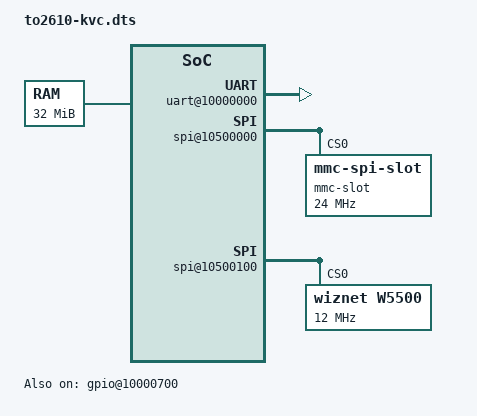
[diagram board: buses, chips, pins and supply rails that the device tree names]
/dts-v1/;

/* 照上游 kianv.dts 改：只留片上有的那一路串口，去掉第三路 SPI 上的显示屏，网卡定成 W5500；
 * 根文件系统在内核自带的 initramfs 里，启动参数不再指 SD 卡 */
/ {
	#address-cells = <0x01>;
	#size-cells = <0x01>;

	chosen {
		bootargs = "earlycon=sbi console=ttyS0";
	};

	memory@80000000 {
		device_type = "memory";
		reg = <0x80000000 0x2000000>;
	};

	cpus {
		#address-cells = <0x01>;
		#size-cells = <0x00>;
		timebase-frequency = <0xf4240>;

		cpu@0 {
			phandle = <0x01>;
			device_type = "cpu";
			reg = <0x00>;
			status = "okay";
			compatible = "kianv\0riscv";
			riscv,isa = "rv32ima";
			riscv,isa-base = "rv32i";
			riscv,isa-extensions = "i", "m", "a", "sstc", "zicntr", "zicsr", "zifencei";
			mmu-type = "riscv,sv32";
			uarch = "KianV,sv32";

			interrupt-controller {
				#interrupt-cells = <0x01>;
				interrupt-controller;
				compatible = "riscv,cpu-intc";
				phandle = <0x02>;
			};
		};

		cpu-map {
			cluster0 {
				core0 {
					cpu = <0x01>;
				};
			};
		};
	};

	soc {
		#address-cells = <0x01>;
		#size-cells = <0x01>;
		compatible = "simple-bus";
		ranges;

		uart@10000000 {
			device_type = "serial";
			clock-frequency = <0x1000000>;
			reg = <0x10000000 0x100>;
			compatible = "ns16850";
			status = "okay";
		};

		poweroff {
			value = <0x5555>;
			offset = <0x00>;
			regmap = <0x04>;
			compatible = "syscon-poweroff";
		};

		reboot {
			value = <0x7777>;
			offset = <0x00>;
			regmap = <0x04>;
			compatible = "syscon-reboot";
		};

		syscon@11100000 {
			phandle = <0x04>;
			reg = <0x11100000 0x1000>;
			compatible = "syscon";
		};

		clint@2000000 {
			interrupts-extended = <0x02 0x03 0x02 0x07>;
			reg = <0x2000000 0x10000>;
			compatible = "sifive,clint0\0riscv,clint0";
		};

		gpio@10000700 {
			compatible = "kianV,kianv-gpio";
			reg = <0x10000700 0x1000>;
			gpio-controller;
			#gpio-cells = <0x02>;
			status = "okay";
		};

		spi@10500000 {
			compatible = "kianVfpga,kianVspi-simple";
			reg = <0x10500000 0x100>;
			status = "okay";
			kianVfpga,num-cs = <0x01>;
			kianVfpga,sck-frequency = <0x00>;
			spi-cpha = <0x00>;
			spi-cpol = <0x00>;
			#address-cells = <0x01>;
			#size-cells = <0x00>;

			mmc-slot@0 {
				compatible = "mmc-spi-slot";
				spi-max-frequency = <0x16e3600>;
				voltage-ranges = <0xc80 0xd48>;
				reg = <0x00>;
				status = "okay";
				disable-wp;
				non-removable;
				no-sdio;
				no-mmc;
			};
		};
	};

	spi@10500100 {
		compatible = "kianVfpga,kianVspi-simple2";
		reg = <0x10500100 0x100>;
		status = "okay";
		kianVfpga,num-cs = <0x01>;
		kianVfpga,sck-frequency = <0x00>;
		spi-cpha = <0x00>;
		spi-cpol = <0x00>;
		#address-cells = <0x01>;
		#size-cells = <0x00>;

		w5500@0 {
			compatible = "wiznet,w5500";
			#address-cells = <0x01>;
			#size-cells = <0x01>;
			reg = <0x00>;
			spi-max-frequency = <0xb71b00>;
			status = "okay";
		};
	};
};
